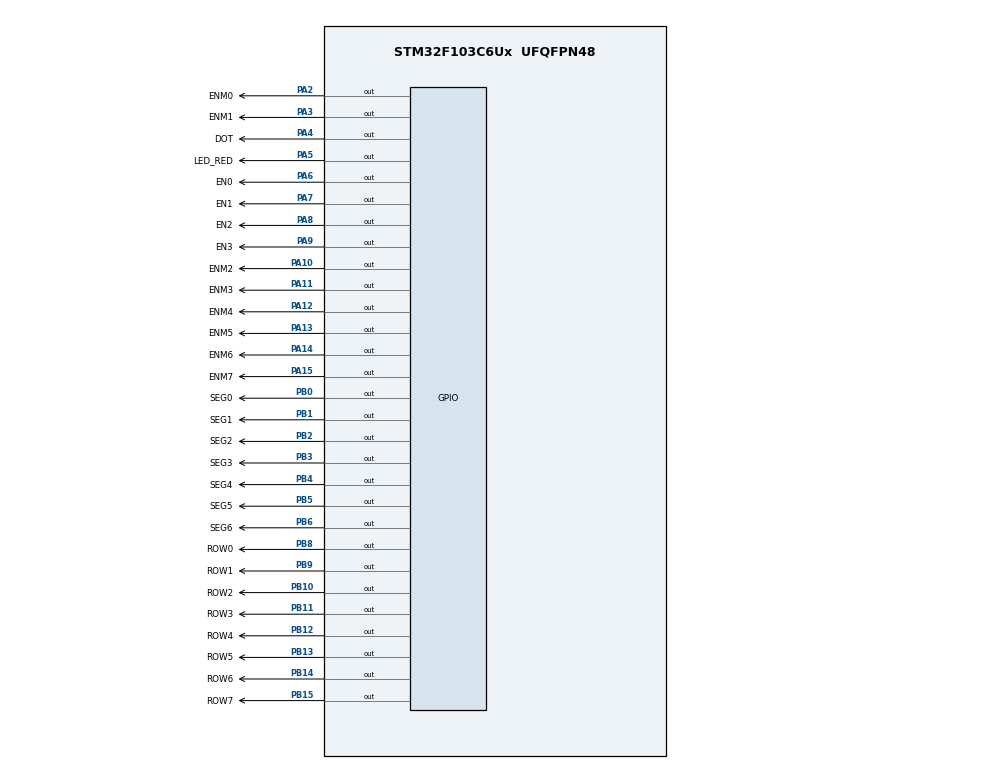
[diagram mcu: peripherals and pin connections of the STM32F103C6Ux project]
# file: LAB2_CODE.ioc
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Mcu.Family=STM32F1
Mcu.Name=STM32F103C6Ux
Mcu.Package=UFQFPN48
NVIC.PriorityGroup=NVIC_PRIORITYGROUP_4
NVIC.TIM2_IRQn=true\:0\:0\:false\:false\:true\:true\:true
PA10.GPIO_Label=ENM2
PA10.Signal=GPIO_Output
PA11.GPIO_Label=ENM3
PA11.Signal=GPIO_Output
PA12.GPIO_Label=ENM4
PA12.Signal=GPIO_Output
PA13.GPIO_Label=ENM5
PA13.Signal=GPIO_Output
PA14.GPIO_Label=ENM6
PA14.Signal=GPIO_Output
PA15.GPIO_Label=ENM7
PA15.Signal=GPIO_Output
PA2.GPIO_Label=ENM0
PA2.Signal=GPIO_Output
PA3.GPIO_Label=ENM1
PA3.Signal=GPIO_Output
PA4.GPIO_Label=DOT
PA4.Signal=GPIO_Output
PA5.GPIO_Label=LED_RED
PA5.Signal=GPIO_Output
PA6.GPIO_Label=EN0
PA6.Signal=GPIO_Output
PA7.GPIO_Label=EN1
PA7.Signal=GPIO_Output
PA8.GPIO_Label=EN2
PA8.Signal=GPIO_Output
PA9.GPIO_Label=EN3
PA9.Signal=GPIO_Output
PB0.GPIO_Label=SEG0
PB0.Signal=GPIO_Output
PB1.GPIO_Label=SEG1
PB1.Signal=GPIO_Output
PB10.GPIO_Label=ROW2
PB10.Signal=GPIO_Output
PB11.GPIO_Label=ROW3
PB11.Signal=GPIO_Output
PB12.GPIO_Label=ROW4
PB12.Signal=GPIO_Output
PB13.GPIO_Label=ROW5
PB13.Signal=GPIO_Output
PB14.GPIO_Label=ROW6
PB14.Signal=GPIO_Output
PB15.GPIO_Label=ROW7
PB15.Signal=GPIO_Output
PB2.GPIO_Label=SEG2
PB2.Signal=GPIO_Output
PB3.GPIO_Label=SEG3
PB3.Signal=GPIO_Output
PB4.GPIO_Label=SEG4
PB4.Signal=GPIO_Output
PB5.GPIO_Label=SEG5
PB5.Signal=GPIO_Output
PB6.GPIO_Label=SEG6
PB6.Signal=GPIO_Output
PB8.GPIO_Label=ROW0
PB8.Signal=GPIO_Output
PB9.GPIO_Label=ROW1
PB9.Signal=GPIO_Output
ProjectManager.HeapSize=0x200
ProjectManager.StackSize=0x400
ProjectManager.TargetToolchain=STM32CubeIDE
RCC.APB1Freq_Value=8000000
RCC.APB2Freq_Value=8000000
TIM2.Period=9
TIM2.Prescaler=7999
VP_SYS_VS_ND.Mode=No_Debug
VP_TIM2_VS_ClockSourceINT.Mode=Internal
board=custom

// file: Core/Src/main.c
/* USER CODE BEGIN Header */
/**
  ******************************************************************************
  * @file           : main.c
  * @brief          : Main program body
  ******************************************************************************
  * @attention
  *
  * <h2><center>&copy; Copyright (c) 2024 STMicroelectronics.
  * All rights reserved.</center></h2>
  *
  * This software component is licensed by ST under BSD 3-Clause license,
  * the "License"; You may not use this file except in compliance with the
  * License. You may obtain a copy of the License at:
  *                        opensource.org/licenses/BSD-3-Clause
  *
  ******************************************************************************
  */
/* USER CODE END Header */
#include "main.h"

TIM_HandleTypeDef htim2;

void SystemClock_Config(void);
static void MX_GPIO_Init(void);
static void MX_TIM2_Init(void);

/* USER CODE BEGIN 0 */
int status = 1;
const int MAX_LED = 4;
int index_led = 0;
int led_buffer[4] = {1, 2, 3, 4};
void update7SEG(int index){
	switch(index){
		  		  case 0:
		  		  	HAL_GPIO_WritePin(GPIOA, EN0_Pin, 0);
		  		  	HAL_GPIO_WritePin(GPIOA, EN1_Pin | EN2_Pin | EN3_Pin, 1);
		  		  	break;
		  		  case 1:
		  			HAL_GPIO_WritePin(GPIOA, EN0_Pin | EN2_Pin | EN3_Pin, 1);
		  			HAL_GPIO_WritePin(GPIOA, EN1_Pin, 0);
		  		  	break;
		  		  case 2:
		  			HAL_GPIO_WritePin(GPIOA, EN0_Pin | EN1_Pin | EN3_Pin, 1);
		  			HAL_GPIO_WritePin(GPIOA, EN2_Pin, 0);
		  			break;
		  		  case 3:
		  			HAL_GPIO_WritePin(GPIOA, EN0_Pin | EN1_Pin | EN2_Pin, 1);
		  			HAL_GPIO_WritePin(GPIOA, EN3_Pin, 0);
		  			break;
		  		  default:
		  		  	break;
	}
	display7SEG(led_buffer[index]);
}

void updateClockBuffer(int h, int m){
	led_buffer[0] = h / 10;
	led_buffer[1] = h % 10;
	led_buffer[2] = m / 10;
	led_buffer[3] = m % 10;
}

const int MAX_LED_MATRIX = 8;
int index_led_matrix = 0;
uint8_t matrix_buffer[8] = {0x01 , 0x02 , 0x03 , 0x04 , 0x05 , 0x06 , 0x07 , 0x08};
void updateLEDMatrix (int index){
	switch(index){
			case 0:
				HAL_GPIO_WritePin(GPIOA, ENM0_Pin, 0);
				HAL_GPIO_WritePin(GPIOA, ENM1_Pin, 1);
				HAL_GPIO_WritePin(GPIOA, ENM2_Pin, 1);
				HAL_GPIO_WritePin(GPIOA, ENM3_Pin, 1);
				HAL_GPIO_WritePin(GPIOA, ENM4_Pin, 1);
				HAL_GPIO_WritePin(GPIOA, ENM5_Pin, 1);
				HAL_GPIO_WritePin(GPIOA, ENM6_Pin, 1);
				HAL_GPIO_WritePin(GPIOA, ENM7_Pin, 1);
				break;
			case 1:
				HAL_GPIO_WritePin(GPIOA, ENM0_Pin, 1);
				HAL_GPIO_WritePin(GPIOA, ENM1_Pin, 0);
	          	HAL_GPIO_WritePin(GPIOA, ENM2_Pin, 1);
	          	HAL_GPIO_WritePin(GPIOA, ENM3_Pin, 1);
	          	HAL_GPIO_WritePin(GPIOA, ENM4_Pin, 1);
	          	HAL_GPIO_WritePin(GPIOA, ENM5_Pin, 1);
	          	HAL_GPIO_WritePin(GPIOA, ENM6_Pin, 1);
	          	HAL_GPIO_WritePin(GPIOA, ENM7_Pin, 1);
				break;
			case 2:
				HAL_GPIO_WritePin(GPIOA, ENM0_Pin, 1);
				HAL_GPIO_WritePin(GPIOA, ENM1_Pin, 1);
	          	HAL_GPIO_WritePin(GPIOA, ENM2_Pin, 0);
	          	HAL_GPIO_WritePin(GPIOA, ENM3_Pin, 1);
	          	HAL_GPIO_WritePin(GPIOA, ENM4_Pin, 1);
	          	HAL_GPIO_WritePin(GPIOA, ENM5_Pin, 1);
	          	HAL_GPIO_WritePin(GPIOA, ENM6_Pin, 1);
	          	HAL_GPIO_WritePin(GPIOA, ENM7_Pin, 1);
				break;
			case 3:
				HAL_GPIO_WritePin(GPIOA, ENM0_Pin, 1);
				HAL_GPIO_WritePin(GPIOA, ENM1_Pin, 1);
	          	HAL_GPIO_WritePin(GPIOA, ENM2_Pin, 1);
	          	HAL_GPIO_WritePin(GPIOA, ENM3_Pin, 0);
	          	HAL_GPIO_WritePin(GPIOA, ENM4_Pin, 1);
	          	HAL_GPIO_WritePin(GPIOA, ENM5_Pin, 1);
	          	HAL_GPIO_WritePin(GPIOA, ENM6_Pin, 1);
	          	HAL_GPIO_WritePin(GPIOA, ENM7_Pin, 1);
				break;
			case 4:
				HAL_GPIO_WritePin(GPIOA, ENM0_Pin, 1);
				HAL_GPIO_WritePin(GPIOA, ENM1_Pin, 1);
	          	HAL_GPIO_WritePin(GPIOA, ENM2_Pin, 1);
	          	HAL_GPIO_WritePin(GPIOA, ENM3_Pin, 1);
	          	HAL_GPIO_WritePin(GPIOA, ENM4_Pin, 0);
	          	HAL_GPIO_WritePin(GPIOA, ENM5_Pin, 1);
	          	HAL_GPIO_WritePin(GPIOA, ENM6_Pin, 1);
	          	HAL_GPIO_WritePin(GPIOA, ENM7_Pin, 1);
				break;
			case 5:
				HAL_GPIO_WritePin(GPIOA, ENM0_Pin, 1);
				HAL_GPIO_WritePin(GPIOA, ENM1_Pin, 1);
	          	HAL_GPIO_WritePin(GPIOA, ENM2_Pin, 1);
	          	HAL_GPIO_WritePin(GPIOA, ENM3_Pin, 1);
	          	HAL_GPIO_WritePin(GPIOA, ENM4_Pin, 1);
	          	HAL_GPIO_WritePin(GPIOA, ENM5_Pin, 0);
	          	HAL_GPIO_WritePin(GPIOA, ENM6_Pin, 1);
	          	HAL_GPIO_WritePin(GPIOA, ENM7_Pin, 1);
				break;
			case 6:
				HAL_GPIO_WritePin(GPIOA, ENM0_Pin, 1);
				HAL_GPIO_WritePin(GPIOA, ENM1_Pin, 1);
	          	HAL_GPIO_WritePin(GPIOA, ENM2_Pin, 1);
	          	HAL_GPIO_WritePin(GPIOA, ENM3_Pin, 1);
	          	HAL_GPIO_WritePin(GPIOA, ENM4_Pin, 1);
	          	HAL_GPIO_WritePin(GPIOA, ENM5_Pin, 1);
	          	HAL_GPIO_WritePin(GPIOA, ENM6_Pin, 0);
	          	HAL_GPIO_WritePin(GPIOA, ENM7_Pin, 1);
				break;
			case 7:
				HAL_GPIO_WritePin(GPIOA, ENM0_Pin, 1);
				HAL_GPIO_WritePin(GPIOA, ENM1_Pin, 1);
	          	HAL_GPIO_WritePin(GPIOA, ENM2_Pin, 1);
	          	HAL_GPIO_WritePin(GPIOA, ENM3_Pin, 1);
	          	HAL_GPIO_WritePin(GPIOA, ENM4_Pin, 1);
	          	HAL_GPIO_WritePin(GPIOA, ENM5_Pin, 1);
	          	HAL_GPIO_WritePin(GPIOA, ENM6_Pin, 1);
	          	HAL_GPIO_WritePin(GPIOA, ENM7_Pin, 0);
				break;
			default:
				HAL_GPIO_WritePin(GPIOA, ENM0_Pin, 1);
				HAL_GPIO_WritePin(GPIOA, ENM1_Pin, 1);
	          	HAL_GPIO_WritePin(GPIOA, ENM2_Pin, 1);
	          	HAL_GPIO_WritePin(GPIOA, ENM3_Pin, 1);
	          	HAL_GPIO_WritePin(GPIOA, ENM4_Pin, 1);
	          	HAL_GPIO_WritePin(GPIOA, ENM5_Pin, 1);
	          	HAL_GPIO_WritePin(GPIOA, ENM6_Pin, 1);
	          	HAL_GPIO_WritePin(GPIOA, ENM7_Pin, 1);
				break;
		}
		displayMatrixRow(matrix_buffer[index]);
}

////Biểu diễn chữ A
//  	1 1 1 1
//    1 1 1 1 1 1
//  1 1 	    1 1
//  1 1 	    1 1
//  1 1 1 1 1 1 1 1
//  1 1 1 1 1 1 1 1
//  1 1 	    1 1
//  1 1 	    1 1

void shiftLeft(){
	uint8_t tmp = matrix_buffer[0];
	for(int i = 0; i < 7; ++i){
		matrix_buffer[i] = matrix_buffer[i+1];
	}
	matrix_buffer[7] = tmp;
}

/* USER CODE END 0 */

int main(void)
{

  /* MCU Configuration--------------------------------------------------------*/

  /* Reset of all peripherals, Initializes the Flash interface and the Systick. */
  HAL_Init();

  /* Configure the system clock */
  SystemClock_Config();

  /* Initialize all configured peripherals */
  MX_GPIO_Init();
  MX_TIM2_Init();
  /* USER CODE BEGIN 2 */
  HAL_GPIO_WritePin(GPIOA, GPIO_PIN_All, 1);
  HAL_GPIO_WritePin(GPIOB, GPIO_PIN_All, 0);

  HAL_TIM_Base_Start_IT(&htim2);
  /* USER CODE END 2 */

  /* Infinite loop */
  /* USER CODE BEGIN WHILE */
  setTimer1(500);
  setTimer2(250);
  setTimer3(1000);
  setTimer4(10);
  int hour = 23, minute = 59, second = 50;
  while (1)
  {
//	  //EX1
//	  if(timer1_flag == 1){
//		  switch(status){
//		  	  case 1:
//		  		  display7SEG(status++);
//		  		  HAL_GPIO_WritePin(GPIOA, EN0_Pin, 0);
//		  		  HAL_GPIO_WritePin(GPIOA, EN1_Pin, 1);
//		  		  HAL_GPIO_TogglePin(GPIOA, GPIO_PIN_5);
//		  		  break;
//		  	  case 2:
//		  		  display7SEG(status++);
//		  		  HAL_GPIO_WritePin(GPIOA, EN0_Pin, 1);
//		  		  HAL_GPIO_WritePin(GPIOA, EN1_Pin, 0);
//		  		  status = 1;
//		  		  break;
//		  	  default:
//		  		  break;
//		  }
//		  setTimer1(500);
//	  }

//	  //EX2
//	  if(timer1_flag == 1){
//		  switch(status){
//	  		  case 1:
//	  		  	display7SEG(status++);
//	  		  	HAL_GPIO_WritePin(GPIOA, EN0_Pin, 0);
//	  		  	HAL_GPIO_WritePin(GPIOA, EN3_Pin, 1);
//	  		  	HAL_GPIO_TogglePin(GPIOA, GPIO_PIN_4);
//	  		  	HAL_GPIO_TogglePin(GPIOA, GPIO_PIN_5);
//	  		  	break;
//	  		  case 2:
//	  		  	display7SEG(status++);
//	  		  	HAL_GPIO_WritePin(GPIOA, EN0_Pin, 1);
//	  		  	HAL_GPIO_WritePin(GPIOA, EN1_Pin, 0);
//	  		  	break;
//	  		  case 3:
//	  			display7SEG(status++);
//	  			HAL_GPIO_WritePin(GPIOA, EN1_Pin, 1);
//	  			HAL_GPIO_WritePin(GPIOA, EN2_Pin, 0);
//	  			HAL_GPIO_TogglePin(GPIOA, GPIO_PIN_4);
//	  			HAL_GPIO_TogglePin(GPIOA, GPIO_PIN_5);
//	  			break;
//	  		  case 4:
//	  			display7SEG(0);
//	  			HAL_GPIO_WritePin(GPIOA, EN2_Pin, 1);
//	  			HAL_GPIO_WritePin(GPIOA, EN3_Pin, 0);
//	  			status = 1;
//	  			break;
//	  		  default:
//	  		  	break;
//	  		  }
//	  		  setTimer1(500);
//	  	  }

//	  //EX3
//	  if(timer3_flag == 1){
//	  	 setTimer3(1000);
//	  	 HAL_GPIO_TogglePin(GPIOA, GPIO_PIN_4);
//	  	 HAL_GPIO_TogglePin(GPIOA, GPIO_PIN_5);
//	  }
//	  if(timer1_flag == 1){
//	  	 if(index_led >= MAX_LED) index_led = 0;
//	  	 update7SEG(index_led++);
//	  	 setTimer1(500);
//	  }

//	  //Ex4
//	  if(timer3_flag == 1){
//	  	 setTimer3(1000);
//	  	 HAL_GPIO_TogglePin(GPIOA, GPIO_PIN_4);
//	  	 HAL_GPIO_TogglePin(GPIOA, GPIO_PIN_5);
//	  }
//	  if(timer2_flag == 1){
//	  	 if(index_led >= MAX_LED) index_led = 0;
//	  	 update7SEG(index_led++);
//	  	 setTimer2(250);
//	  }

//	  //Ex5
//	  second++;
//	  if(second >= 60){
//		  second = 0;
//		  minute++;
//	  }
//	  if(minute >= 60){
//		  minute = 0;
//		  hour++;
//	  }
//	  if(hour >= 24){
//		  hour = 0;
//	  }
//	  updateClockBuffer(hour, minute);
//	  if(index_led >= MAX_LED) index_led = 0;
//	  update7SEG(index_led++);
//	  HAL_GPIO_TogglePin(GPIOA, GPIO_PIN_4);
//	  HAL_GPIO_TogglePin(GPIOA, GPIO_PIN_5);
//	  HAL_Delay(1000);

//	  	  //Ex7
//	  if(timer3_flag == 1){
//		  setTimer3(1000);
//		  HAL_GPIO_TogglePin(GPIOA, GPIO_PIN_4);
//		  HAL_GPIO_TogglePin(GPIOA, GPIO_PIN_5);
//	  	  second++;
//	  	  if(second >= 60){
//	  		  second = 0;
//	  		  minute++;
//	  	  }
//	  	  if(minute >= 60){
//	  		  minute = 0;
//	  		  hour++;
//	  	  }
//	  	  if(hour >= 24){
//	  		  hour = 0;
//	  	  }
//	  }
//	  if(timer2_flag == 1){
//	  	  updateClockBuffer(hour, minute);
//	  	  setTimer2(250);
//	  	  if(index_led >= MAX_LED) index_led = 0;
//	  	  update7SEG(index_led++);
//	  }

//	  //Ex9:
//	  if(timer4_flag == 1){
//		  if(index_led_matrix >= MAX_LED_MATRIX) index_led_matrix = 0;
//	      setTimer4(10);
//	      updateLEDMatrix(index_led_matrix++);
//	  }

	  //Ex10:
	  if(timer4_flag == 1){
		  updateLEDMatrix(index_led_matrix++);
		  if(index_led_matrix > MAX_LED_MATRIX){
			  index_led_matrix = 0;
			  shiftLeft();
		  }
		  setTimer4(10);
	  }
    /* USER CODE END WHILE */

  }
}

void SystemClock_Config(void)
{
  RCC_OscInitTypeDef RCC_OscInitStruct = {0};
  RCC_ClkInitTypeDef RCC_ClkInitStruct = {0};

  /** Initializes the RCC Oscillators according to the specified parameters
  * in the RCC_OscInitTypeDef structure.
  */
  RCC_OscInitStruct.OscillatorType = RCC_OSCILLATORTYPE_HSI;
  RCC_OscInitStruct.HSIState = RCC_HSI_ON;
  RCC_OscInitStruct.HSICalibrationValue = RCC_HSICALIBRATION_DEFAULT;
  RCC_OscInitStruct.PLL.PLLState = RCC_PLL_NONE;
  if (HAL_RCC_OscConfig(&RCC_OscInitStruct) != HAL_OK)
  {
    Error_Handler();
  }
  /** Initializes the CPU, AHB and APB buses clocks
  */
  RCC_ClkInitStruct.ClockType = RCC_CLOCKTYPE_HCLK|RCC_CLOCKTYPE_SYSCLK
                              |RCC_CLOCKTYPE_PCLK1|RCC_CLOCKTYPE_PCLK2;
  RCC_ClkInitStruct.SYSCLKSource = RCC_SYSCLKSOURCE_HSI;
  RCC_ClkInitStruct.AHBCLKDivider = RCC_SYSCLK_DIV1;
  RCC_ClkInitStruct.APB1CLKDivider = RCC_HCLK_DIV1;
  RCC_ClkInitStruct.APB2CLKDivider = RCC_HCLK_DIV1;

  if (HAL_RCC_ClockConfig(&RCC_ClkInitStruct, FLASH_LATENCY_0) != HAL_OK)
  {
    Error_Handler();
  }
}

static void MX_TIM2_Init(void)
{

  TIM_ClockConfigTypeDef sClockSourceConfig = {0};
  TIM_MasterConfigTypeDef sMasterConfig = {0};

  htim2.Instance = TIM2;
  htim2.Init.Prescaler = 7999;
  htim2.Init.CounterMode = TIM_COUNTERMODE_UP;
  htim2.Init.Period = 9;
  htim2.Init.ClockDivision = TIM_CLOCKDIVISION_DIV1;
  htim2.Init.AutoReloadPreload = TIM_AUTORELOAD_PRELOAD_DISABLE;
  if (HAL_TIM_Base_Init(&htim2) != HAL_OK)
  {
    Error_Handler();
  }
  sClockSourceConfig.ClockSource = TIM_CLOCKSOURCE_INTERNAL;
  if (HAL_TIM_ConfigClockSource(&htim2, &sClockSourceConfig) != HAL_OK)
  {
    Error_Handler();
  }
  sMasterConfig.MasterOutputTrigger = TIM_TRGO_RESET;
  sMasterConfig.MasterSlaveMode = TIM_MASTERSLAVEMODE_DISABLE;
  if (HAL_TIMEx_MasterConfigSynchronization(&htim2, &sMasterConfig) != HAL_OK)
  {
    Error_Handler();
  }

}

static void MX_GPIO_Init(void)
{
  GPIO_InitTypeDef GPIO_InitStruct = {0};

  /* GPIO Ports Clock Enable */
  __HAL_RCC_GPIOA_CLK_ENABLE();
  __HAL_RCC_GPIOB_CLK_ENABLE();

  /*Configure GPIO pin Output Level */
  HAL_GPIO_WritePin(GPIOA, ENM0_Pin|ENM1_Pin|DOT_Pin|LED_RED_Pin
                          |EN0_Pin|EN1_Pin|EN2_Pin|EN3_Pin
                          |ENM2_Pin|ENM3_Pin|ENM4_Pin|ENM5_Pin
                          |ENM6_Pin|ENM7_Pin, GPIO_PIN_RESET);

  /*Configure GPIO pin Output Level */
  HAL_GPIO_WritePin(GPIOB, SEG0_Pin|SEG1_Pin|SEG2_Pin|ROW2_Pin
                          |ROW3_Pin|ROW4_Pin|ROW5_Pin|ROW6_Pin
                          |ROW7_Pin|SEG3_Pin|SEG4_Pin|SEG5_Pin
                          |SEG6_Pin|ROW0_Pin|ROW1_Pin, GPIO_PIN_RESET);

  /*Configure GPIO pins : ENM0_Pin ENM1_Pin DOT_Pin LED_RED_Pin
                           EN0_Pin EN1_Pin EN2_Pin EN3_Pin
                           ENM2_Pin ENM3_Pin ENM4_Pin ENM5_Pin
                           ENM6_Pin ENM7_Pin */
  GPIO_InitStruct.Pin = ENM0_Pin|ENM1_Pin|DOT_Pin|LED_RED_Pin
                          |EN0_Pin|EN1_Pin|EN2_Pin|EN3_Pin
                          |ENM2_Pin|ENM3_Pin|ENM4_Pin|ENM5_Pin
                          |ENM6_Pin|ENM7_Pin;
  GPIO_InitStruct.Mode = GPIO_MODE_OUTPUT_PP;
  GPIO_InitStruct.Pull = GPIO_NOPULL;
  GPIO_InitStruct.Speed = GPIO_SPEED_FREQ_LOW;
  HAL_GPIO_Init(GPIOA, &GPIO_InitStruct);

  /*Configure GPIO pins : SEG0_Pin SEG1_Pin SEG2_Pin ROW2_Pin
                           ROW3_Pin ROW4_Pin ROW5_Pin ROW6_Pin
                           ROW7_Pin SEG3_Pin SEG4_Pin SEG5_Pin
                           SEG6_Pin ROW0_Pin ROW1_Pin */
  GPIO_InitStruct.Pin = SEG0_Pin|SEG1_Pin|SEG2_Pin|ROW2_Pin
                          |ROW3_Pin|ROW4_Pin|ROW5_Pin|ROW6_Pin
                          |ROW7_Pin|SEG3_Pin|SEG4_Pin|SEG5_Pin
                          |SEG6_Pin|ROW0_Pin|ROW1_Pin;
  GPIO_InitStruct.Mode = GPIO_MODE_OUTPUT_PP;
  GPIO_InitStruct.Pull = GPIO_NOPULL;
  GPIO_InitStruct.Speed = GPIO_SPEED_FREQ_LOW;
  HAL_GPIO_Init(GPIOB, &GPIO_InitStruct);

}

/* USER CODE BEGIN 4 */
int cnt = 50;
int cnt2 = 25;
void HAL_TIM_PeriodElapsedCallback (TIM_HandleTypeDef * htim){
//	cnt--;
//	if(cnt <= 0){
//		cnt = 50;
//
//		//EX1
//		switch(status){
//			case 1:
//				display7SEG(status);
//				HAL_GPIO_WritePin(GPIOA, EN0_Pin, 0);
//				HAL_GPIO_WritePin(GPIOA, EN1_Pin, 1);
//				HAL_GPIO_TogglePin(GPIOA, GPIO_PIN_5);
//				status++;
//				break;
//			case 2:
//				display7SEG(status);
//				HAL_GPIO_WritePin(GPIOA, EN0_Pin, 1);
//				HAL_GPIO_WritePin(GPIOA, EN1_Pin, 0);
//				status = 1;
//				break;
//			default:
//				break;
//		}
//	}

//		//EX2
//		cnt--;
//		if(cnt <= 0){
//			cnt = 50;
//		switch(status){
//			case 1:
//			  	display7SEG(status++);
//			  	HAL_GPIO_WritePin(GPIOA, EN0_Pin, 0);
//			  	HAL_GPIO_WritePin(GPIOA, EN3_Pin, 1);
//			  	HAL_GPIO_TogglePin(GPIOA, GPIO_PIN_4);
//			  	HAL_GPIO_TogglePin(GPIOA, GPIO_PIN_5);
//			  	break;
//			case 2:
//			  	display7SEG(status++);
//			  	HAL_GPIO_WritePin(GPIOA, EN0_Pin, 1);
//			  	HAL_GPIO_WritePin(GPIOA, EN1_Pin, 0);
//			  	break;
//			case 3:
//			  	display7SEG(status++);
//			  	HAL_GPIO_WritePin(GPIOA, EN1_Pin, 1);
//			  	HAL_GPIO_WritePin(GPIOA, EN2_Pin, 0);
//			  	HAL_GPIO_TogglePin(GPIOA, GPIO_PIN_4);
//			  	HAL_GPIO_TogglePin(GPIOA, GPIO_PIN_5);
//			  	break;
//			case 4:
//			  	display7SEG(0);
//			  	HAL_GPIO_WritePin(GPIOA, EN2_Pin, 1);
//			  	HAL_GPIO_WritePin(GPIOA, EN3_Pin, 0);
//			  	status = 1;
//			  	break;
//			default:
//			  	break;
//		}
//		}

//		//EX3:
//		cnt--;
//		if(cnt <= 0){
//			cnt = 50;
//		if(index_led >= MAX_LED) index_led = 0;
//		switch(index_led){
//			 case 0:
//				 HAL_GPIO_TogglePin(GPIOA, GPIO_PIN_4);
//				 HAL_GPIO_TogglePin(GPIOA, GPIO_PIN_5);
//			  	 update7SEG(index_led++);
//			  	 break;
//			 case 1:
//			  	 update7SEG(index_led++);
//			  	 break;
//			 case 2:
//				 HAL_GPIO_TogglePin(GPIOA, GPIO_PIN_4);
//				 HAL_GPIO_TogglePin(GPIOA, GPIO_PIN_5);
//			  	 update7SEG(index_led++);
//			  	 break;
//			 case 3:
//			  	 update7SEG(index_led++);
//			  	 break;
//			 default:
//			  	 break;
//		}
//		}

//		cnt2--;
//		if(cnt2 <= 0){
//		   cnt2 = 25;
//		//EX4
//		if(index_led >= MAX_LED) index_led = 0;
//  		switch(index_led){
//  	  		  case 0:
//  	  		  	update7SEG(index_led++);
//  	  		  	HAL_GPIO_TogglePin(GPIOA, GPIO_PIN_4);
//  	  			HAL_GPIO_TogglePin(GPIOA, GPIO_PIN_5);
//  	  		  	break;
//  	  		  case 1:
//  	  			update7SEG(index_led++);
//  	  		  	break;
//  	  		  case 2:
//  	  			update7SEG(index_led++);
//  	  			break;
//  	  		  case 3:
//  	  			update7SEG(index_led++);
//  	  			break;
//  	  		  default:
//  	  		  	break;
//  	  	}
//		}

	//EX 7-8-9-10
	timerRun();
}
/* USER CODE END 4 */

void Error_Handler(void)
{
  __disable_irq();
  while (1)
  {
  }
}

/************************ (C) COPYRIGHT STMicroelectronics *****END OF FILE****/
